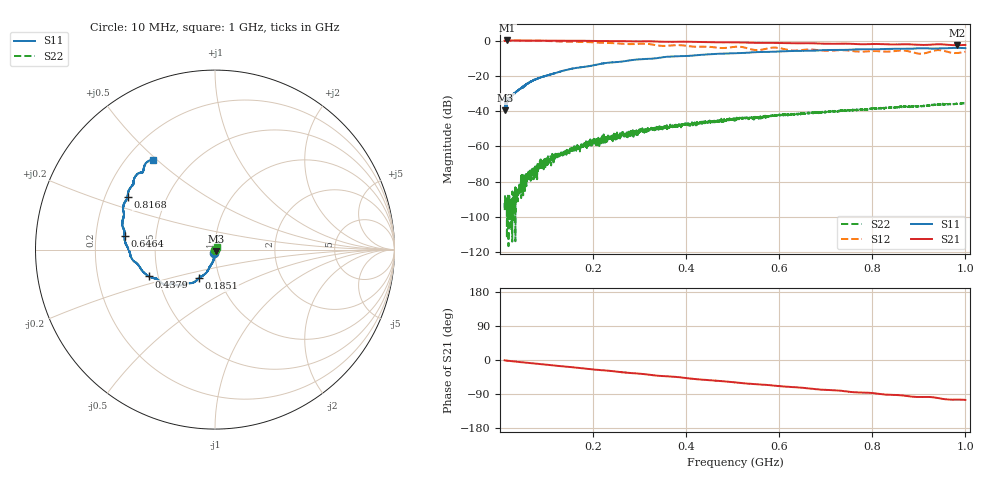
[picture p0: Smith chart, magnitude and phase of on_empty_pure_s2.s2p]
!Agilent Technologies,E8362C,MY43020457,A.09.42.15
!Agilent E8362C: A.09.42.15
!Date: Friday, March 13, 2026 14:00:01
!Correction: S11(Full 2 Port(1,2))
!S21(Full 2 Port(1,2))
!S12(Full 2 Port(1,2))
!S22(Full 2 Port(1,2))
!S2P File: Measurements: S11, S21, S12, S22:
# Hz S  dB  R 50
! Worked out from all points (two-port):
!   3201 points, 10 MHz to 1 GHz, reference 50 ohm
!   highest |S21| = 0.04 dB at 15.57 MHz (marker M1); lowest = -2.7 dB at 981.7 MHz (marker M2)
!   |S21| within 3 dB of the highest: start of sweep to end of sweep
!   lowest |S11| = -39.5 dB at 11.86 MHz (marker M3), VSWR 1.02, Z = 50.4 - j0.999 ohm
!   |S11| at or under -10 dB: start of sweep to 336.9 MHz
!   |S22| runs from -116.6 to -35.4 dB; largest |S21 - S12| = 0.34
!   S11 on the Smith chart (normalised r, x): 10 MHz: 0.99, -0.04; 185.1 MHz: 0.80, -0.26; 437.9 MHz: 0.44, -0.16; 646.4 MHz: 0.33, +0.07; 816.9 MHz: 0.29, +0.26; 1 GHz: 0.30, +0.49
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1e7  -33.17 -99.0  -0.07 -0.8  -0.02 -1.2  -92.07 90.0
1.185625e7  -39.54 -70.1  -0.03 -1.4  -0.17 -1.8  -95.61 133.7
1.556875e7  -34.67 -108.2  0.04 -1.8  -0.17 -2.2  -89.58 160.0
4.2175e7  -27.58 -99.8  -0.00 -5.3  -0.02 -8.0  -82.32 172.2
7.125625e7  -22.63 -101.3  -0.02 -8.8  -0.21 -12.5  -78.70 164.5
1.21375e8  -18.29 -108.7  -0.08 -15.2  -0.52 -22.3  -65.12 162.1
1.752062e8  -15.17 -118.6  -0.13 -21.6  -0.78 -30.3  -59.54 148.4
1.851062e8  -14.79 -119.7  -0.16 -23.0  -0.86 -32.1  -60.46 160.9
3.401031e8  -9.88 -142.4  -0.59 -41.5  -2.80 -54.4  -49.67 114.4
4.378656e8  -8.00 -158.0  -0.90 -52.2  -3.47 -61.6  -46.76 105.2
5.05e8  -7.24 -168.3  -1.06 -58.9  -3.58 -65.4  -44.50 98.6
5.347e8  -6.87 -171.6  -1.24 -62.7  -4.65 -75.2  -43.78 91.9
5.746094e8  -6.46 -178.3  -1.35 -66.0  -4.51 -66.9  -42.88 90.6
6.117344e8  -6.09 176.8  -1.47 -70.1  -4.90 -80.0  -42.31 86.1
6.463844e8  -5.86 171.3  -1.55 -72.9  -5.44 -74.9  -41.59 82.2
6.702062e8  -5.75 168.5  -1.58 -75.9  -5.10 -79.2  -40.90 80.4
8.1685e8  -4.90 148.9  -1.98 -89.7  -6.13 -87.0  -38.45 66.7
8.351031e8  -4.74 146.4  -2.19 -91.6  -6.28 -86.4  -38.23 65.4
9.053312e8  -4.40 137.1  -2.52 -97.6  -7.54 -89.9  -37.15 60.3
9.424562e8  -4.55 132.8  -2.15 -100.6  -5.43 -92.2  -36.14 57.2
9.817469e8  -4.19 127.2  -2.66 -104.4  -7.09 -94.5  -35.93 53.5
1e9  -4.30 124.7  -2.50 -105.3  -6.35 -93.6  -35.76 52.6
